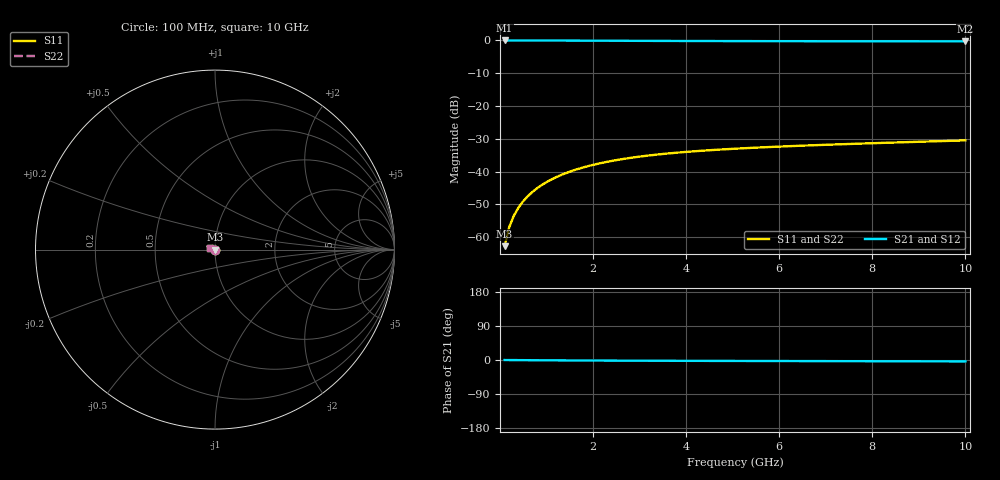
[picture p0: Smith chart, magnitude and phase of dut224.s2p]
! Touchstone file exported from HFSS 2024.1.0
!  File:  C:/UserFiles/LocalFiles/RDL_TSV_Batchsim/temp_TSV1_224_1779388033.aedt
!  Generated:  02:33:25 AM May 22, 2026
!  Design:  TSV1
!  Project:  temp_TSV1_224_1779388033
!  Setup:  Setup1
!  Solution:  Sweep
! Variables:
!  dtsv = 8.59um
!  hbump = 3um
!  htsv = 54.08um
!  lrdl = 252.1521522um
!  p = 40
!  p1 = 50.17um
!  t = 500um
!  trdl = 3um
!  wrdl = 24.89489489um
# GHz S MA R 50.000000
! Terminal data exported
! Port[1] = TSV22_T1
! Port[2] = TSV22_T2
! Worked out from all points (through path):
!   100 points, 100 MHz to 10 GHz, reference 50 ohm
!   highest |S21| = 0.00 dB at 100 MHz (marker M1); lowest = -0.3 dB at 10 GHz (marker M2)
!   lowest |S11| = -62.8 dB at 100 MHz (marker M3), VSWR 1.00, Z = 50 - j0.0716 ohm
!   |S11| at or under -10 dB: start of sweep to end of sweep
!   |S22| runs from -62.8 to -30.5 dB; largest |S21 - S12| = 1.6e-14
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0.1  0.0007281 -79.5  0.9998 -0.1  0.9998 -0.1  0.0007281 -79.5
! Gamma 0 0 0 0
! Port Impedance 50 0 50 0
0.2  0.001429 -87.7  0.9997 -0.2  0.9997 -0.2  0.001429 -87.7
0.3  0.002133 -91.9  0.9996 -0.3  0.9996 -0.3  0.002133 -91.9
0.4  0.002835 -94.9  0.9994 -0.3  0.9994 -0.3  0.002835 -94.9
0.5  0.003532 -97.6  0.9992 -0.4  0.9992 -0.4  0.003532 -97.6
0.6  0.004223 -100.0  0.9989 -0.5  0.9989 -0.5  0.004223 -100.0
0.7  0.004906 -102.2  0.9986 -0.6  0.9986 -0.6  0.004906 -102.2
0.8  0.00558 -104.4  0.9982 -0.7  0.9982 -0.7  0.00558 -104.4
0.9  0.006245 -106.5  0.9978 -0.7  0.9978 -0.7  0.006245 -106.5
1.1  0.007539 -110.5  0.9969 -0.9  0.9969 -0.9  0.007539 -110.5
1.4  0.00938 -116.2  0.9953 -1.1  0.9953 -1.1  0.00938 -116.2
1.6  0.01053 -119.8  0.9942 -1.2  0.9942 -1.2  0.01053 -119.8
1.8  0.01163 -123.3  0.9931 -1.3  0.9931 -1.3  0.01163 -123.3
2.1  0.01314 -128.2  0.9913 -1.5  0.9913 -1.5  0.01314 -128.2
2.5  0.01495 -134.3  0.989 -1.7  0.989 -1.7  0.01495 -134.3
2.9  0.01654 -140.0  0.9868 -1.8  0.9868 -1.8  0.01654 -140.0
3.4  0.01824 -146.4  0.9842 -2.0  0.9842 -2.0  0.01824 -146.4
4.2  0.02045 -155.5  0.9807 -2.3  0.9807 -2.3  0.02045 -155.5
5.1  0.02242 -164.1  0.9775 -2.5  0.9775 -2.5  0.02242 -164.1
6.7  0.02516 -176.7  0.9736 -2.9  0.9736 -2.9  0.02516 -176.7
8.4  0.02764 172.6  0.9709 -3.3  0.9709 -3.3  0.02764 172.6
10  0.0299 164.2  0.9691 -3.7  0.9691 -3.7  0.0299 164.2
